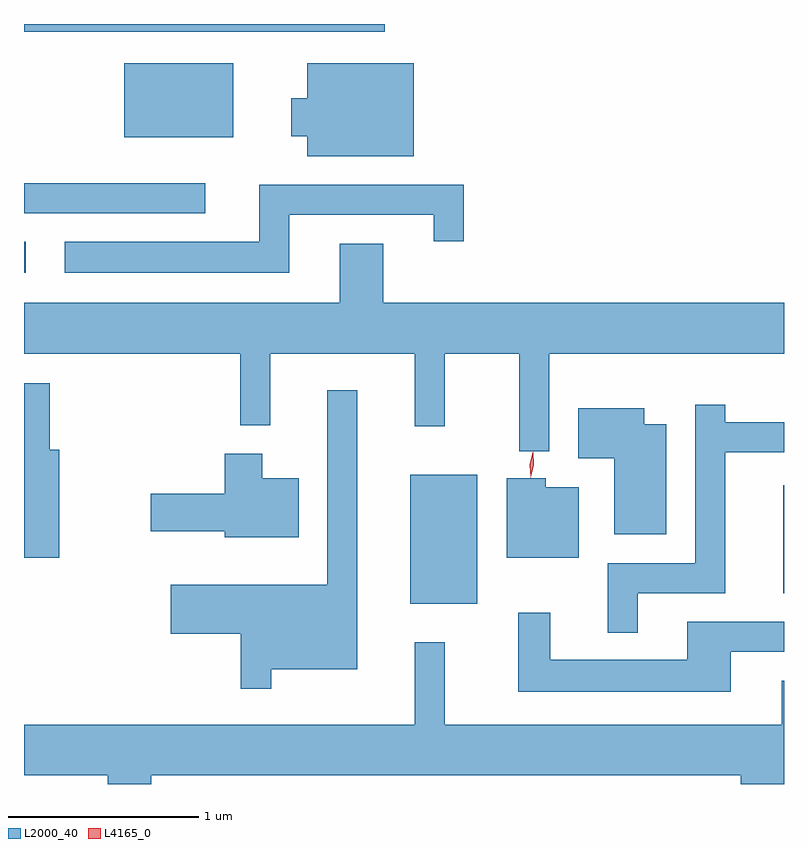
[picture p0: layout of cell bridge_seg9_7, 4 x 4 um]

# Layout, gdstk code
import gdstk
lib = gdstk.Library(unit=1e-6, precision=1e-09)
def R(c, l, rs):  # rectangles x0, y0, x1, y1
    for r in rs: c.add(gdstk.rectangle(r[:2], r[2:], *l))
def P(c, l, *ps):  # polygons
    for p in ps: c.add(gdstk.Polygon(p, *l))
L2000_40 = (2000, 40)
L4165_0 = (4165, 0)

bridge_seg9_7 = lib.new_cell('bridge_seg9_7')
R(bridge_seg9_7, L2000_40, [(1708.841,2030.461,1709.194,2031.139), (1710.806,2030.516,1710.809,2031.084), (1706.809,2032.201,1706.818,2032.364), (1706.809,2032.516,1707.763,2032.674), (1707.336,2032.916,1707.909,2033.304), (1706.809,2033.471,1708.708,2033.511)])
P(bridge_seg9_7, L2000_40, [(1708.859,2033.304),(1708.301,2033.304),(1708.301,2033.119),(1708.216,2033.119),(1708.216,2032.921),(1708.301,2032.921),(1708.301,2032.816),(1708.859,2032.816)],
  [(1708.204,2032.506),(1708.966,2032.506),(1708.966,2032.368),(1709.124,2032.368),(1709.124,2032.664),(1708.046,2032.664),(1708.046,2032.364),(1707.023,2032.364),(1707.023,2032.201),(1708.204,2032.201)],
  [(1709.574,2031.776),(1710.809,2031.776),(1710.809,2032.044),(1708.699,2032.044),(1708.699,2032.354),(1708.471,2032.354),(1708.471,2032.044),(1706.809,2032.044),(1706.809,2031.776),(1707.946,2031.776),(1707.946,2031.398),(1708.104,2031.398),(1708.104,2031.776),(1708.866,2031.776),(1708.866,2031.393),(1709.024,2031.393),(1709.024,2031.776),(1709.416,2031.776),(1709.416,2031.263),(1709.574,2031.263)],
  [(1706.994,2031.269),(1706.944,2031.269),(1706.944,2031.619),(1706.809,2031.619),(1706.809,2030.701),(1706.994,2030.701)],
  [(1708.109,2030.116),(1708.564,2030.116),(1708.564,2031.583),(1708.406,2031.583),(1708.406,2030.559),(1707.581,2030.559),(1707.581,2030.301),(1707.951,2030.301),(1707.951,2030.013),(1708.109,2030.013)],
  [(1710.039,2030.516),(1710.499,2030.516),(1710.499,2031.256),(1710.809,2031.256),(1710.809,2031.414),(1710.499,2031.414),(1710.499,2031.508),(1710.341,2031.508),(1710.341,2030.674),(1709.881,2030.674),(1709.881,2030.308),(1710.039,2030.308)],
  [(1710.189,2031.404),(1710.074,2031.404),(1710.074,2031.489),(1709.726,2031.489),(1709.726,2031.226),(1709.916,2031.226),(1709.916,2030.826),(1710.189,2030.826)],
  [(1708.254,2031.119),(1708.064,2031.119),(1708.064,2031.249),(1707.866,2031.249),(1707.866,2031.039),(1707.476,2031.039),(1707.476,2030.841),(1707.866,2030.841),(1707.866,2030.811),(1708.254,2030.811)],
  [(1709.729,2031.074),(1709.554,2031.074),(1709.554,2031.119),(1709.351,2031.119),(1709.351,2030.701),(1709.729,2030.701)],
  [(1710.529,2030.206),(1710.809,2030.206),(1710.809,2030.364),(1710.301,2030.364),(1710.301,2030.164),(1709.579,2030.164),(1709.579,2030.413),(1709.411,2030.413),(1709.411,2029.996),(1710.529,2029.996)],
  [(1707.479,2029.556),(1710.581,2029.556),(1710.581,2029.511),(1710.809,2029.511),(1710.809,2030.054),(1710.796,2030.054),(1710.796,2029.824),(1709.024,2029.824),(1709.024,2030.258),(1708.866,2030.258),(1708.866,2029.824),(1706.809,2029.824),(1706.809,2029.556),(1707.251,2029.556),(1707.251,2029.511),(1707.479,2029.511)])
P(bridge_seg9_7, L4165_0, [(1709.476,2031.124),(1709.476,2031.125),(1709.472,2031.192),(1709.487,2031.256),(1709.487,2031.257),(1709.488,2031.256),(1709.492,2031.19),(1709.477,2031.125)])

lib.write_gds('bridge_seg9_7.gds')
